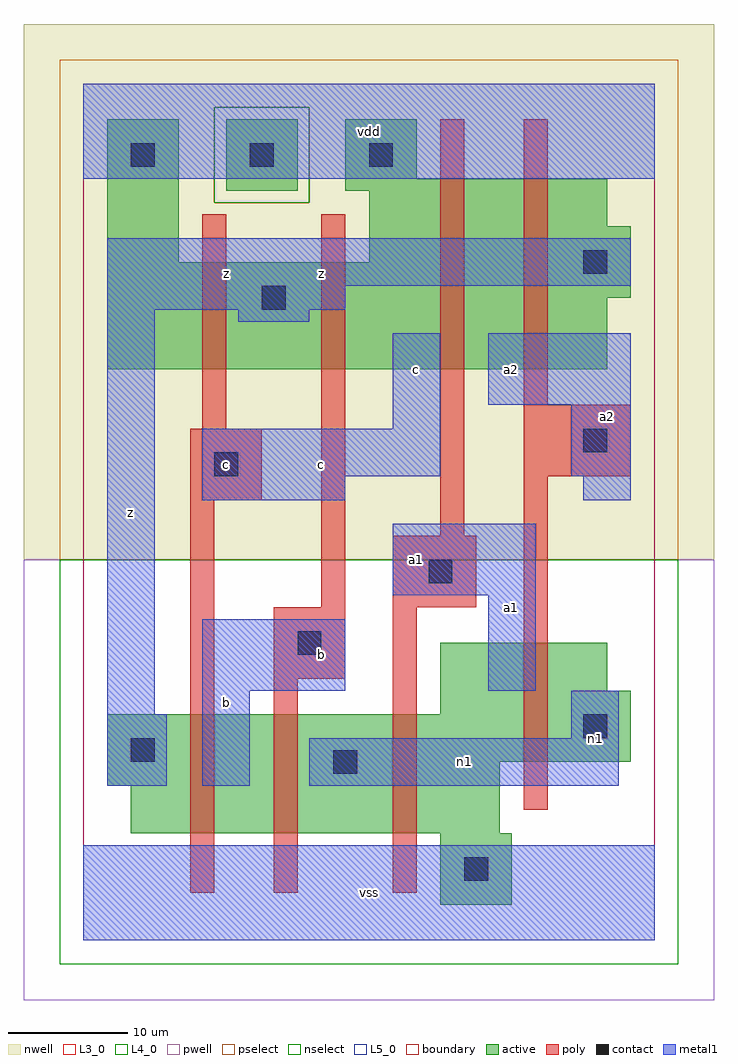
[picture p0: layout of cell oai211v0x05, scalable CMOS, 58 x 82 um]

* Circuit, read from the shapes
.subckt oai211v0x05 a1 a2 b c n1 vdd vss z
M1 n2 c z VSUBS nfet w=10u l=2u
M2 n1 b n2 VSUBS nfet w=10u l=2u
M3 vss a1 n1 VSUBS nfet w=10u l=2u
M4 n1 a2 vss VSUBS nfet w=10u l=2u
M5 z c vdd vdd pfet w=9u l=2u
M6 vdd b z vdd pfet w=9u l=2u
M7 n3 a1 vdd vdd pfet w=16u l=2u
M8 z a2 n3 vdd pfet w=16u l=2u
.ends

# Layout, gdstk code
import gdstk
lib = gdstk.Library(unit=1e-6, precision=1e-09)
def R(c, l, rs):  # rectangles x0, y0, x1, y1
    for r in rs: c.add(gdstk.rectangle(r[:2], r[2:], *l))
def A(c, l, x, y, w, h, nx, ny, dx, dy):  # array of equal rectangles
    R(c, l, [(x+i*dx, y+j*dy, x+i*dx+w, y+j*dy+h) for i in range(nx) for j in range(ny)])
L3_0 = (3, 0)
L4_0 = (4, 0)
L5_0 = (5, 0)
contact = (25, 0)
pwell = (41, 0)
nwell = (42, 0)
active = (43, 0)
pselect = (44, 0)
nselect = (45, 0)
poly = (46, 0)
metal1 = (49, 0)
boundary = (63, 0)

oai211v0x05 = lib.new_cell('oai211v0x05')
R(oai211v0x05, L3_0, [(30,3,36,9), (4,9,35,13), (2,13,35,15), (2,15,46,19), (30,19,46,21), (30,21,44,25)])
R(oai211v0x05, L4_0, [(2,48,44,54), (2,54,46,57), (2,57,8,69), (24,57,46,60), (24,60,44,63), (22,63,44,64), (22,64,28,69)])
R(oai211v0x05, L5_0, [(12,63,18,69)])
A(oai211v0x05, contact, 4, 65, 2, 2, 3, 1, 10, 0)
R(oai211v0x05, contact, [(32,5,34,7), (21,14,23,16), (4,15,6,17), (42,17,44,19), (18,24,20,26), (29,30,31,32), (11,39,13,41), (42,41,44,43), (15,53,17,55), (42,56,44,58)])
R(oai211v0x05, pwell, [(-5,-5,53,32)])
R(oai211v0x05, nwell, [(-5,32,53,77)])
R(oai211v0x05, active, [(30,3,36,9), (4,9,35,13), (2,13,35,15), (2,15,46,19), (30,19,46,21), (30,21,44,25), (2,48,44,54), (2,54,46,57), (2,57,8,69), (24,57,46,60), (24,60,44,63), (12,63,18,69), (22,63,44,64), (22,64,28,69)])
R(oai211v0x05, pselect, [(-2,32,50,62), (-2,62,11,70), (19,62,50,70), (-2,70,50,74)])
R(oai211v0x05, nselect, [(-2,-2,50,32), (11,62,19,70)])
R(oai211v0x05, poly, [(9,4,11,37), (16,4,18,22), (26,4,28,28), (37,11,39,39), (16,22,22,28), (20,28,22,61), (26,28,33,34), (30,34,32,69), (9,37,15,43), (37,39,46,45), (10,43,12,61), (37,45,39,69)])
R(oai211v0x05, metal1, [(0,0,48,8), (2,13,7,19), (10,13,14,21), (19,13,45,17), (41,17,45,21), (2,19,6,53), (10,21,22,27), (34,21,38,29), (26,29,38,35), (10,37,22,39), (42,37,46,39), (10,39,30,43), (41,39,46,45), (26,43,30,51), (34,45,46,51), (13,52,19,53), (2,53,22,55), (2,55,46,59), (0,64,48,72)])
R(oai211v0x05, boundary, [(0,0,48,72)])
oai211v0x05.add(gdstk.Label('n1', (32,15), layer=49, texttype=0))
oai211v0x05.add(gdstk.Label('n1', (43,17), layer=49, texttype=0))
oai211v0x05.add(gdstk.Label('z', (4,36), layer=49, texttype=0))
oai211v0x05.add(gdstk.Label('b', (12,20), layer=49, texttype=0))
oai211v0x05.add(gdstk.Label('b', (20,24), layer=49, texttype=0))
oai211v0x05.add(gdstk.Label('c', (20,40), layer=49, texttype=0))
oai211v0x05.add(gdstk.Label('c', (12,40), layer=49, texttype=0))
oai211v0x05.add(gdstk.Label('z', (20,56), layer=49, texttype=0))
oai211v0x05.add(gdstk.Label('z', (12,56), layer=49, texttype=0))
oai211v0x05.add(gdstk.Label('vss', (24,4), layer=49, texttype=0))
oai211v0x05.add(gdstk.Label('a1', (28,32), layer=49, texttype=0))
oai211v0x05.add(gdstk.Label('c', (28,48), layer=49, texttype=0))
oai211v0x05.add(gdstk.Label('vdd', (24,68), layer=49, texttype=0))
oai211v0x05.add(gdstk.Label('a1', (36,28), layer=49, texttype=0))
oai211v0x05.add(gdstk.Label('a2', (36,48), layer=49, texttype=0))
oai211v0x05.add(gdstk.Label('a2', (44,44), layer=49, texttype=0))

lib.write_gds('oai211v0x05.gds')
